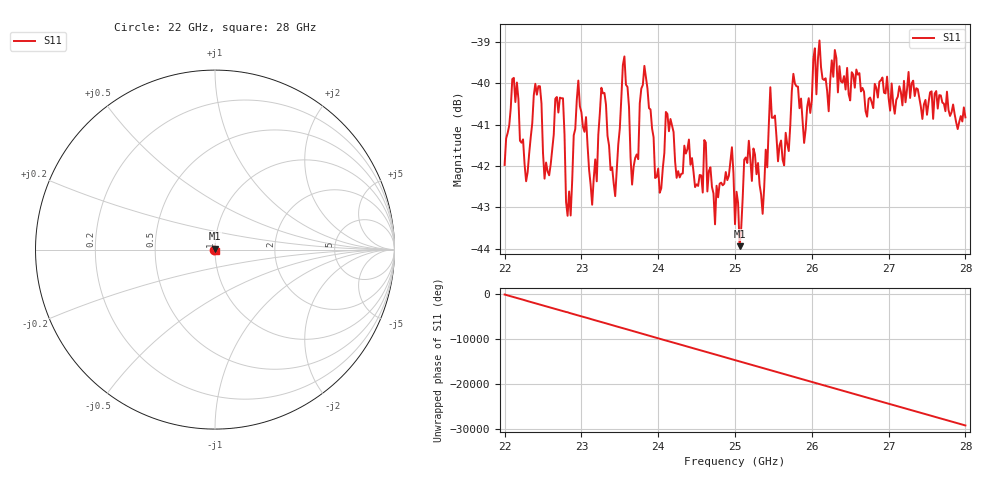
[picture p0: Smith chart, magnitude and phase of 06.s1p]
#  HZ  S  RI  R  50.00
! Rohde & Schwarz ZVA40 4Ports - Version 3.90 - 1145.1110k42 SN: 100403
! Date: 2023-10-04 08:27:24
! Measurement: S12
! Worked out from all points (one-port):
!   301 points, 22 GHz to 28 GHz, reference 50 ohm
!   lowest |S11| = -43.9 dB at 25.06 GHz (marker M1), VSWR 1.01, Z = 49.7 + j0.576 ohm
!   |S11| at or under -10 dB: start of sweep to end of sweep
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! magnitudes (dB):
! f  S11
! 22 GHz  -42.0
! 22.1 GHz  -39.9
! 22.28 GHz  -42.4
! 22.4 GHz  -40.0
! 22.52 GHz  -42.3
! 22.76 GHz  -40.4
! 22.82 GHz  -43.2
! 22.96 GHz  -39.9
! 23.14 GHz  -42.9
! 23.26 GHz  -40.1
! 23.44 GHz  -42.7
! 23.5 GHz  -41.1
! 23.56 GHz  -39.4
! 23.66 GHz  -42.4
! 23.82 GHz  -39.6
! 24.02 GHz  -42.6
! 24.26 GHz  -42.1
! 24.96 GHz  -41.5
! 25 GHz  -43.4
! 25.06 GHz  -43.9
! 25.18 GHz  -41.4
! 25.36 GHz  -43.2
! 25.46 GHz  -40.1
! 25.64 GHz  -42.0
! 25.76 GHz  -39.8
! 26.5 GHz  -40.4
! 27.26 GHz  -39.7
! 28 GHz  -40.8
